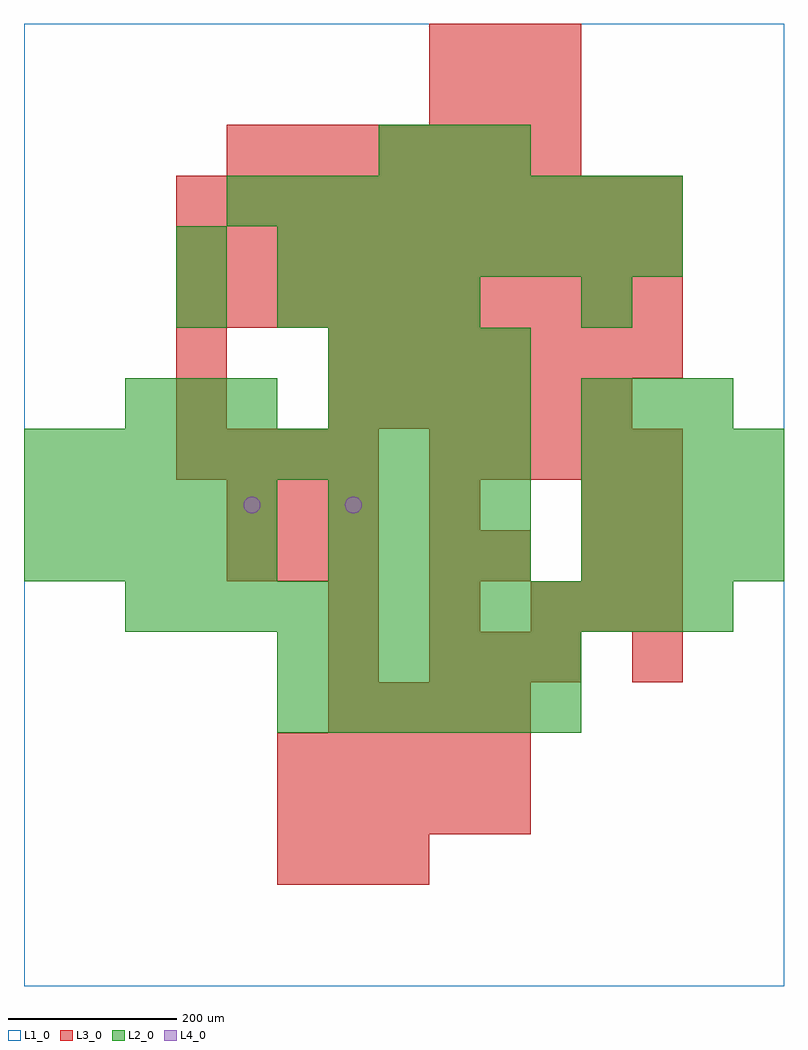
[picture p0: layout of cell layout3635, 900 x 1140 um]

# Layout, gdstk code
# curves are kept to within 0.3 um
import gdstk
lib = gdstk.Library(unit=1e-6, precision=1e-09)
def R(c, l, rs):  # rectangles x0, y0, x1, y1
    for r in rs: c.add(gdstk.rectangle(r[:2], r[2:], *l))
def A(c, l, x, y, w, h, nx, ny, dx, dy):  # array of equal rectangles
    R(c, l, [(x+i*dx, y+j*dy, x+i*dx+w, y+j*dy+h) for i in range(nx) for j in range(ny)])
def P(c, l, *ps):  # polygons
    for p in ps: c.add(gdstk.Polygon(p, *l))
L1_0 = (1, 0)
L2_0 = (2, 0)
L3_0 = (3, 0)
L4_0 = (4, 0)

layout3635 = lib.new_cell('layout3635')
R(layout3635, L1_0, [(0,0,900,1140)])
A(layout3635, L2_0, 300, 300, 60, 60, 6, 2, 60, 60)
A(layout3635, L2_0, 120, 420, 60, 60, 12, 1, 60, 0)
A(layout3635, L2_0, 0, 480, 60, 60, 5, 2, 60, 60)
A(layout3635, L2_0, 360, 480, 60, 60, 4, 2, 60, 60)
A(layout3635, L2_0, 660, 480, 60, 60, 4, 3, 60, 60)
A(layout3635, L2_0, 0, 600, 60, 60, 10, 1, 60, 0)
A(layout3635, L2_0, 120, 660, 60, 60, 3, 1, 60, 0)
A(layout3635, L2_0, 360, 660, 60, 60, 4, 2, 60, 60)
A(layout3635, L2_0, 660, 660, 60, 60, 3, 1, 60, 0)
A(layout3635, L2_0, 300, 780, 60, 60, 4, 1, 60, 0)
A(layout3635, L2_0, 300, 840, 60, 60, 8, 1, 60, 0)
A(layout3635, L2_0, 240, 900, 60, 60, 9, 1, 60, 0)
A(layout3635, L2_0, 420, 960, 60, 60, 3, 1, 60, 0)
R(layout3635, L2_0, [(180,780,240,840), (660,780,720,840), (180,840,240,900)])
A(layout3635, L3_0, 300, 120, 60, 60, 3, 1, 60, 0)
A(layout3635, L3_0, 300, 180, 60, 60, 5, 2, 60, 60)
A(layout3635, L3_0, 360, 300, 60, 60, 4, 1, 60, 0)
A(layout3635, L3_0, 480, 360, 60, 60, 3, 2, 60, 660)
A(layout3635, L3_0, 720, 360, 60, 60, 1, 4, 0, 60)
A(layout3635, L3_0, 360, 420, 60, 60, 3, 1, 120, 0)
A(layout3635, L3_0, 660, 420, 60, 60, 1, 3, 0, 60)
A(layout3635, L3_0, 240, 480, 60, 60, 3, 2, 60, 60)
A(layout3635, L3_0, 180, 600, 60, 60, 4, 1, 60, 0)
A(layout3635, L3_0, 480, 600, 60, 60, 5, 1, 60, 0)
A(layout3635, L3_0, 360, 660, 60, 60, 6, 1, 60, 0)
A(layout3635, L3_0, 360, 720, 60, 60, 7, 1, 60, 0)
A(layout3635, L3_0, 180, 780, 60, 60, 10, 3, 60, 60)
A(layout3635, L3_0, 240, 960, 60, 60, 7, 1, 60, 0)
A(layout3635, L3_0, 480, 1080, 60, 60, 3, 1, 60, 0)
R(layout3635, L3_0, [(360,360,420,420), (480,480,540,540), (540,480,600,540), (480,540,540,600), (180,660,240,720), (180,720,240,780)])
P(layout3635, L4_0, [(280,570),(279.239,573.827),(277.071,577.071),(273.827,579.239),(270,580),(266.173,579.239),(262.929,577.071),(260.761,573.827),(260,570),(260.761,566.173),(262.929,562.929),(266.173,560.761),(270,560),(273.827,560.761),(277.071,562.929),(279.239,566.173)],
  [(400,570),(399.239,573.827),(397.071,577.071),(393.827,579.239),(390,580),(386.173,579.239),(382.929,577.071),(380.761,573.827),(380,570),(380.761,566.173),(382.929,562.929),(386.173,560.761),(390,560),(393.827,560.761),(397.071,562.929),(399.239,566.173)])

lib.write_gds('layout3635.gds')
